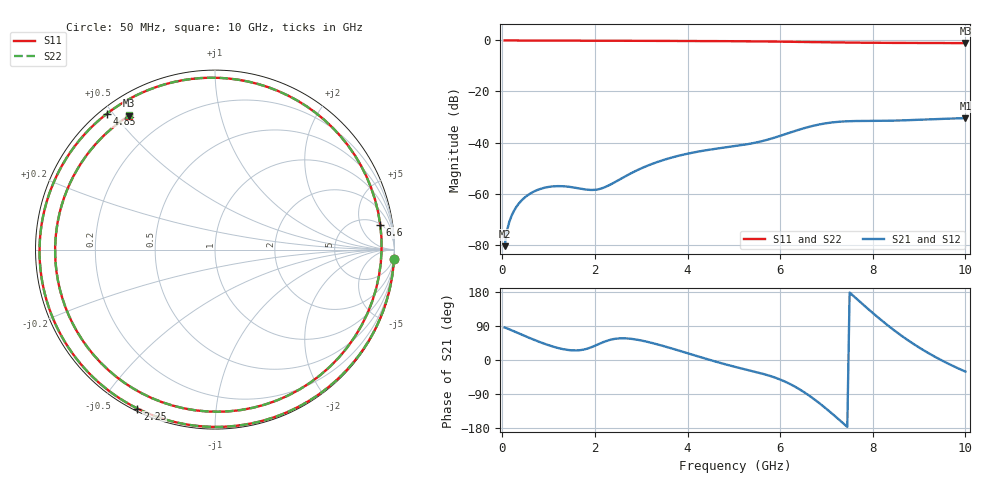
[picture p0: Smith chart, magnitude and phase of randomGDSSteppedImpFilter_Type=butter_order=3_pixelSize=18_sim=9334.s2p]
! freq	dB(S11)	phase(S11)	dB(S12)	phase(S12)
!  dB(S21)	phase(S21)	dB(S22)	phase(S22)
!S-par simulation data
#  GHz  S  DB  R 50
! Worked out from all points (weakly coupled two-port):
!   200 points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, 50 MHz to 10 GHz, reference 50 ohm
!   highest |S21| = -30.45 dB at 10 GHz (marker M1); lowest = -80.6 dB at 50 MHz (marker M2)
!   lowest |S11| = -1.0 dB at 10 GHz (marker M3), VSWR 16.68, Z = 3.89 + j27.2 ohm
!   |S11| at or under -10 dB: nowhere
!   |S22| runs from -1.0 to 0.0 dB; largest |S21 - S12| = 0
!   S11 on the Smith chart (normalised r, x): 50 MHz: 1, -40; 2.25 GHz: 0.01, -0.62; 4.85 GHz: 0.02, +0.48; 6.6 GHz: 5, +11; 10 GHz: 0.08, +0.54
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0.05  -0.01 -2.9  -80.60 85.6  -80.60 85.6  -0.01 -2.9
0.1  -0.01 -5.7  -74.63 83.6  -74.63 83.6  -0.01 -5.7
0.2  -0.02 -11.4  -68.69 78.6  -68.69 78.6  -0.02 -11.4
0.55  -0.03 -31.0  -60.62 60.1  -60.62 60.1  -0.03 -31.0
1.15  -0.07 -63.1  -57.10 33.4  -57.10 33.4  -0.07 -63.2
1.75  -0.11 -92.9  -58.26 27.3  -58.26 27.3  -0.11 -93.0
2.25  -0.13 -116.0  -57.22 50.3  -57.22 50.3  -0.13 -116.0
3.4  -0.18 -165.4  -47.31 39.6  -47.31 39.6  -0.18 -165.4
4.15  -0.22 162.1  -43.82 12.4  -43.82 12.4  -0.22 162.1
4.85  -0.29 128.6  -41.84 -12.5  -41.84 -12.5  -0.29 128.7
5.05  -0.31 118.0  -41.34 -18.9  -41.34 -18.9  -0.31 118.1
5.5  -0.37 91.6  -39.92 -32.4  -39.92 -32.4  -0.37 91.7
5.85  -0.44 68.3  -38.24 -44.8  -38.24 -44.8  -0.44 68.4
6.2  -0.51 42.0  -36.18 -62.6  -36.18 -62.6  -0.51 42.1
6.6  -0.62 8.5  -33.96 -91.7  -33.96 -91.7  -0.62 8.7
6.7  -0.65 -0.3  -33.50 -100.4  -33.50 -100.4  -0.65 -0.2
7.05  -0.74 -31.9  -32.29 -134.1  -32.29 -134.1  -0.74 -31.8
7.5  -0.84 -72.1  -31.63 177.9  -31.63 177.9  -0.85 -72.0
7.9  -0.91 -105.3  -31.53 134.6  -31.53 134.6  -0.91 -105.3
8.35  -0.96 -138.9  -31.45 88.9  -31.45 88.9  -0.96 -139.0
9.1  -1.01 172.9  -31.01 25.5  -31.01 25.5  -1.01 172.7
10  -1.04 122.8  -30.45 -30.6  -30.45 -30.6  -1.04 122.5
